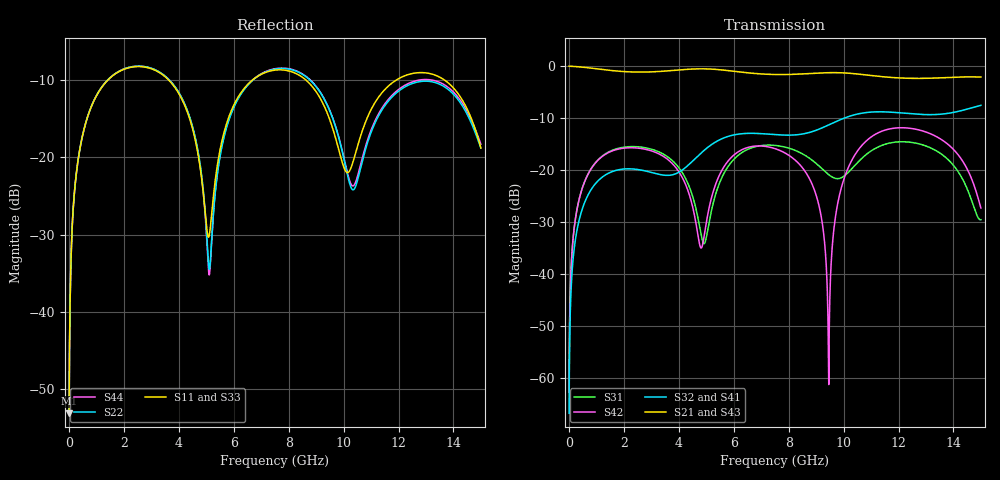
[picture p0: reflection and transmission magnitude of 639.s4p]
! Created with skrf 1.8.0 (http://scikit-rf.org).
# GHz S RI R 50.0
!freq ReS11 ImS11 ReS12 ImS12 ReS13 ImS13
! ReS14 ImS14
! ReS21 ImS21 ReS22 ImS22 ReS23 ImS23
! ReS24 ImS24
! ReS31 ImS31 ReS32 ImS32 ReS33 ImS33
! ReS34 ImS34
! ReS41 ImS41 ReS42 ImS42 ReS43 ImS43
! ReS44 ImS44
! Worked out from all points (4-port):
!   2499 points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, 5 MHz to 15 GHz, reference 50 ohm
!   strongest paths, dB at 5 MHz, 3.476 GHz, 7.19 GHz, 11.1 GHz, 15 GHz:
!     S21: 0.0, -1.0, -1.6, -1.9, -2.1
!     S43: 0.0, -1.0, -1.6, -1.9, -2.1
!     S32: -66.7, -21.0, -13.1, -8.8, -7.5
!     S41: -66.7, -21.0, -13.1, -8.8, -7.5
!     S42: -62.7, -17.5, -15.5, -13.3, -27.3
!     S31: -62.7, -17.0, -15.2, -16.0, -29.5
!   lowest |S11| = -53.1 dB at 5 MHz (marker M1), VSWR 1.00, Z = 50.2 + j0.133 ohm
!   |S11| at or under -10 dB: start of sweep to 1.407 GHz; 3.64 GHz to 6.672 GHz (3.032 GHz wide, 58.8 % of centre); 8.639 GHz to 11.9 GHz (3.266 GHz wide, 31.8 % of centre)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
0.005  0.00176 0.00133  0.9982 -0.00342  8.98e-05 0.000728  -8.69e-05 -0.000452
       0.9982 -0.00342  0.00176 0.00133  -8.69e-05 -0.000452  8.96e-05 0.000728
       8.98e-05 0.000728  -8.69e-05 -0.000452  0.00176 0.00133  0.9982 -0.00342
       -8.69e-05 -0.000452  8.96e-05 0.000728  0.9982 -0.00342  0.00176 0.00133
1.675698  0.3113 0.1536  0.4443 -0.7822  0.1529 0.043  -0.0979 0.0124
          0.4443 -0.7822  0.3139 0.1513  -0.098 0.0126  0.1463 0.0548
          0.1529 0.043  -0.098 0.0126  0.3112 0.1536  0.4443 -0.7822
          -0.0979 0.0124  0.1463 0.0548  0.4443 -0.7822  0.3139 0.1512
5.108378  0.0307 0.00628  -0.9356 -0.0649  -0.0112 0.0299  -0.00784 0.1696
          -0.9356 -0.0649  0.0188 -0.00145  -0.00572 0.1696  0.0253 0.0362
          -0.0112 0.0299  -0.00572 0.1696  0.032 0.00765  -0.9356 -0.0645
          -0.00784 0.1696  0.0253 0.0362  -0.9356 -0.0645  0.0174 -9.9e-05
7.822009  0.3682 -0.014  -0.0437 0.828  0.1322 -0.1029  0.2113 -0.0475
          -0.0437 0.828  0.3766 -0.0163  0.2111 -0.0512  0.1341 -0.0635
          0.1322 -0.1029  0.2111 -0.0512  0.3695 -0.0157  -0.0442 0.8273
          0.2113 -0.0475  0.1341 -0.0635  -0.0442 0.8273  0.3789 -0.0138
9.453939  0.1395 -0.1204  0.6826 0.5306  -0.0695 -0.0582  0.1634 -0.217
          0.6826 0.5306  0.1416 -0.1535  0.1589 -0.2203  0.000857 -0.000333
          -0.0695 -0.0582  0.1589 -0.2203  0.1385 -0.1226  0.6816 0.5315
          0.1634 -0.217  0.000857 -0.000333  0.6816 0.5315  0.1452 -0.1522
11.0296  0.17 0.1214  0.7667 -0.2621  0.0751 0.1352  -0.1511 -0.3275
         0.7667 -0.2621  0.1195 0.0906  -0.1585 -0.3253  0.1763 0.1153
         0.0751 0.1352  -0.1585 -0.3253  0.1669 0.1224  0.7668 -0.2611
         -0.1511 -0.3275  0.1763 0.1153  0.7668 -0.2611  0.1246 0.0921
15  0.087 -0.0757  -0.6886 -0.3758  -0.0325 0.00753  -0.2008 0.3684
    -0.6886 -0.3758  0.1011 -0.0552  -0.1876 0.3752  -0.0402 -0.0161
    -0.0325 0.00753  -0.1876 0.3752  0.0923 -0.0821  -0.6847 -0.3811
    -0.2008 0.3684  -0.0402 -0.0161  -0.6847 -0.3811  0.1049 -0.0621
